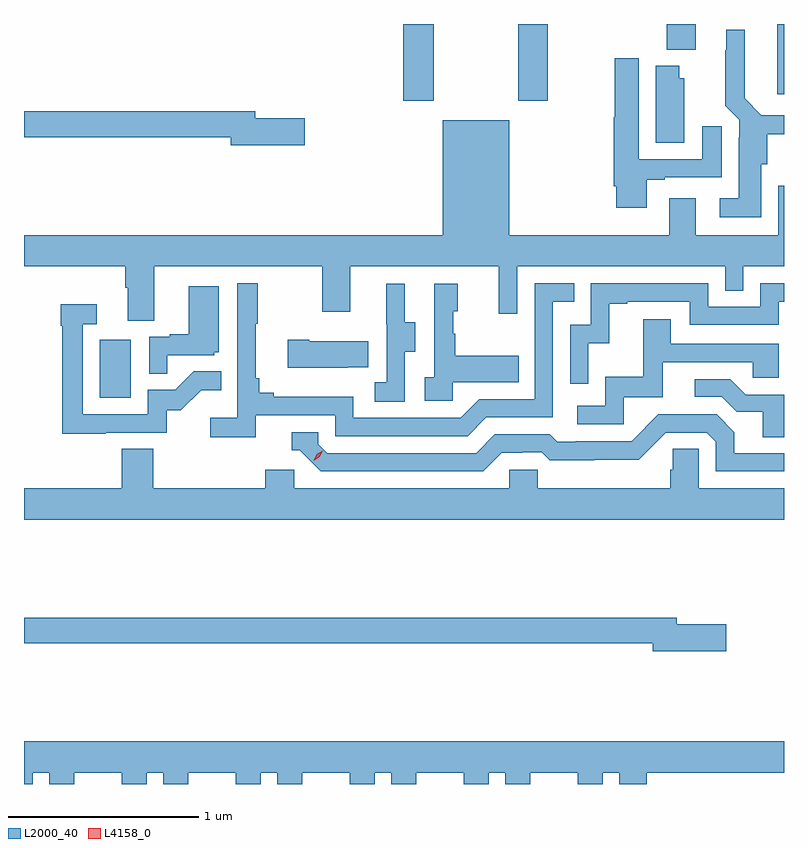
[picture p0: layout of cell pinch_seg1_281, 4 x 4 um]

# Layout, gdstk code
import gdstk
lib = gdstk.Library(unit=1e-6, precision=1e-09)
def R(c, l, rs):  # rectangles x0, y0, x1, y1
    for r in rs: c.add(gdstk.rectangle(r[:2], r[2:], *l))
def P(c, l, *ps):  # polygons
    for p in ps: c.add(gdstk.Polygon(p, *l))
L2000_40 = (2000, 40)
L4158_0 = (4158, 0)

pinch_seg1_281 = lib.new_cell('pinch_seg1_281')
R(pinch_seg1_281, L2000_40, [(898.586,544.38,898.75,544.687), (900.185,545.943,900.345,546.348), (900.79,545.943,900.945,546.348), (902.153,545.979,902.188,546.348), (901.571,546.212,901.723,546.348)])
P(pinch_seg1_281, L2000_40, [(902.068,545.61),(902.099,545.61),(902.099,545.767),(902.188,545.767),(902.188,545.868),(902.068,545.868),(901.981,545.956),(901.981,546.319),(901.883,546.319),(901.883,546.209),(901.879,546.209),(901.879,545.918),(901.953,545.844),(901.953,545.75),(901.949,545.75),(901.949,545.431),(901.851,545.431),(901.851,545.33),(902.068,545.33)],
  [(901.465,545.529),(901.561,545.529),(901.561,545.541),(901.861,545.541),(901.861,545.809),(901.757,545.809),(901.757,545.637),(901.423,545.637),(901.423,546.169),(901.297,546.169),(901.297,545.856),(901.292,545.856),(901.292,545.494),(901.304,545.494),(901.304,545.382),(901.465,545.382)],
  [(901.663,546.063),(901.636,546.063),(901.636,546.127),(901.514,546.127),(901.514,545.722),(901.663,545.722)],
  [(899.665,545.852),(899.404,545.852),(899.404,545.888),(898.188,545.888),(898.188,545.752),(899.276,545.752),(899.276,545.71),(899.665,545.71)],
  [(898.873,545.072),(899.758,545.072),(899.758,544.833),(899.905,544.833),(899.905,545.072),(900.686,545.072),(900.686,544.824),(900.783,544.824),(900.783,545.072),(901.878,545.072),(901.878,544.945),(901.974,544.945),(901.974,545.072),(902.188,545.072),(902.188,545.497),(902.157,545.497),(902.157,545.236),(901.723,545.236),(901.723,545.431),(901.583,545.431),(901.583,545.236),(900.742,545.236),(900.742,545.842),(900.392,545.842),(900.392,545.236),(898.188,545.236),(898.188,545.072),(898.721,545.072),(898.721,544.96),(898.733,544.96),(898.733,544.786),(898.873,544.786)],
  [(899.408,544.29),(899.826,544.29),(899.826,544.179),(900.523,544.179),(900.622,544.278),(900.972,544.278),(900.972,544.887),(901.085,544.887),(901.085,544.983),(900.876,544.983),(900.876,544.374),(900.585,544.374),(900.486,544.275),(899.922,544.275),(899.922,544.387),(899.503,544.387),(899.503,544.406),(899.426,544.406),(899.426,544.483),(899.407,544.483),(899.407,544.771),(899.419,544.771),(899.419,544.984),(899.31,544.984),(899.31,544.276),(899.169,544.276),(899.169,544.174),(899.408,544.174)],
  [(901.158,544.667),(901.268,544.667),(901.268,544.875),(901.363,544.875),(901.363,544.887),(901.692,544.887),(901.692,544.764),(902.16,544.764),(902.16,544.887),(902.188,544.887),(902.188,544.983),(902.064,544.983),(902.064,544.86),(901.788,544.86),(901.788,544.983),(901.17,544.983),(901.17,544.764),(901.062,544.764),(901.062,544.455),(901.158,544.455)],
  [(900.444,544.463),(900.791,544.463),(900.791,544.603),(900.457,544.603),(900.457,544.718),(900.447,544.718),(900.447,544.836),(900.472,544.836),(900.472,544.981),(900.348,544.981),(900.348,544.49),(900.297,544.49),(900.297,544.365),(900.444,544.365)],
  [(900.192,544.624),(900.247,544.624),(900.247,544.779),(900.193,544.779),(900.193,544.981),(900.095,544.981),(900.095,544.767),(900.096,544.767),(900.096,544.463),(900.033,544.463),(900.033,544.36),(900.192,544.36)],
  [(898.943,544.605),(899.19,544.605),(899.19,544.62),(899.212,544.62),(899.212,544.969),(899.054,544.969),(899.054,544.714),(898.955,544.714),(898.955,544.701),(898.848,544.701),(898.848,544.507),(898.943,544.507)],
  [(898.619,544.197),(898.938,544.197),(898.938,544.314),(899.014,544.314),(899.121,544.421),(899.225,544.421),(899.225,544.52),(899.081,544.52),(898.983,544.422),(898.839,544.422),(898.839,544.293),(898.497,544.293),(898.497,544.767),(898.57,544.767),(898.57,544.873),(898.381,544.873),(898.381,544.76),(898.389,544.76),(898.389,544.192),(898.619,544.192)],
  [(901.344,544.383),(901.549,544.383),(901.549,544.569),(902.023,544.569),(902.023,544.485),(902.16,544.485),(902.16,544.665),(901.591,544.665),(901.591,544.795),(901.447,544.795),(901.447,544.492),(901.248,544.492),(901.248,544.338),(901.101,544.338),(901.101,544.242),(901.344,544.242)],
  [(899.891,544.541),(899.999,544.541),(899.999,544.678),(899.689,544.678),(899.689,544.686),(899.577,544.686),(899.577,544.538),(899.891,544.538)],
  [(902.188,544.398),(901.987,544.398),(901.906,544.479),(901.719,544.479),(901.719,544.386),(901.86,544.386),(901.94,544.306),(902.075,544.306),(902.075,544.174),(902.188,544.174)],
  [(900.703,544.092),(900.81,544.092),(900.81,544.095),(900.913,544.095),(900.955,544.053),(901.188,544.053),(901.188,544.055),(901.424,544.055),(901.566,544.197),(901.782,544.197),(901.83,544.149),(901.83,543.993),(902.188,543.993),(902.188,544.089),(901.927,544.089),(901.927,544.199),(901.833,544.293),(901.527,544.293),(901.386,544.152),(901.093,544.152),(901.093,544.149),(900.994,544.149),(900.955,544.188),(900.666,544.188),(900.567,544.089),(899.784,544.089),(899.736,544.137),(899.736,544.2),(899.597,544.2),(899.597,544.104),(899.64,544.104),(899.751,543.993),(900.604,543.993)],
  [(902.188,543.904),(901.74,543.904),(901.74,544.112),(901.603,544.112),(901.603,544.002),(901.589,544.002),(901.589,543.904),(900.891,543.904),(900.891,544.002),(900.741,544.002),(900.741,543.904),(899.61,543.904),(899.61,544.002),(899.459,544.002),(899.459,543.904),(898.868,543.904),(898.868,544.112),(898.703,544.112),(898.703,543.904),(898.188,543.904),(898.188,543.74),(902.188,543.74)],
  [(901.885,543.188),(901.624,543.188),(901.624,543.224),(898.188,543.224),(898.188,543.088),(901.496,543.088),(901.496,543.046),(901.885,543.046)],
  [(898.234,542.408),(898.322,542.408),(898.322,542.348),(898.453,542.348),(898.453,542.408),(898.703,542.408),(898.703,542.348),(898.834,542.348),(898.834,542.408),(898.922,542.408),(898.922,542.348),(899.053,542.348),(899.053,542.408),(899.303,542.408),(899.303,542.348),(899.434,542.348),(899.434,542.408),(899.522,542.408),(899.522,542.348),(899.653,542.348),(899.653,542.408),(899.903,542.408),(899.903,542.348),(900.034,542.348),(900.034,542.408),(900.122,542.408),(900.122,542.348),(900.253,542.348),(900.253,542.408),(900.503,542.408),(900.503,542.348),(900.634,542.348),(900.634,542.408),(900.722,542.408),(900.722,542.348),(900.853,542.348),(900.853,542.408),(901.103,542.408),(901.103,542.348),(901.234,542.348),(901.234,542.408),(901.322,542.408),(901.322,542.348),(901.466,542.348),(901.466,542.408),(902.188,542.408),(902.188,542.572),(898.188,542.572),(898.188,542.348),(898.234,542.348)])
P(pinch_seg1_281, L4158_0, [(899.714,544.05),(899.714,544.05),(899.729,544.083),(899.76,544.103),(899.76,544.103),(899.76,544.103),(899.744,544.07),(899.714,544.05)])

lib.write_gds('pinch_seg1_281.gds')
